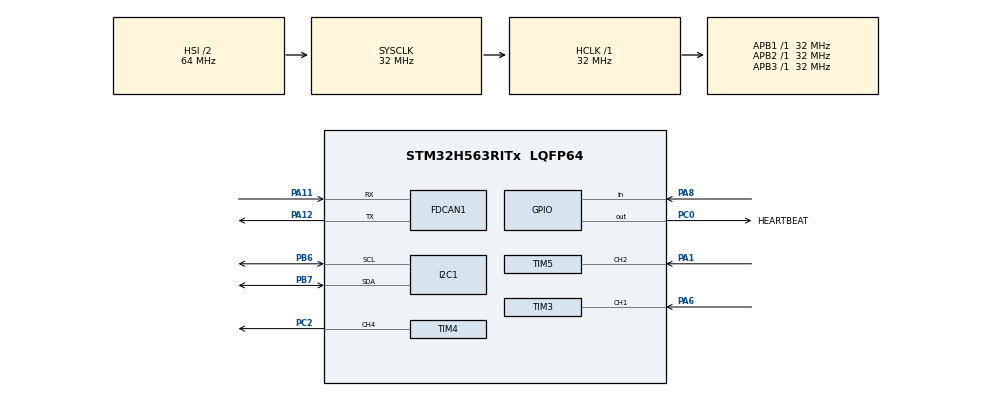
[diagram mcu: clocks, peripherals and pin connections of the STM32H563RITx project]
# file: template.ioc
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BOOTPATH.BootPathName=LEGACY
BOOTPATH.UserSelectedBootPath=LEGACY
CORTEX_M33_NS.Number-Cortex_Memory_Protection_Unit_Region0_OTP_RO_AREAS_Settings=MPU_REGION_NUMBER0
CORTEX_M33_NS.default_mode_Activation=1
CORTEX_M33_NS.userName=CORTEX_M33
FDCAN1.CalculateBaudRateNominal=500000
FDCAN1.CalculateTimeBitNominal=2000
FDCAN1.CalculateTimeQuantumNominal=500.0
FDCAN1.NominalTimeSeg1=2
FDCAN1.StdFiltersNbr=1
I2C1.Timing=0x00707CBB
Mcu.Family=STM32H5
Mcu.Name=STM32H563RITx
Mcu.Package=LQFP64
NVIC.FDCAN1_IT0_IRQn=true\:0\:0\:false\:false\:true\:true\:true\:true
NVIC.FDCAN1_IT1_IRQn=true\:0\:0\:false\:false\:true\:true\:true\:true
NVIC.I2C1_ER_IRQn=true\:0\:0\:false\:false\:true\:true\:true\:true
NVIC.I2C1_EV_IRQn=true\:0\:0\:false\:false\:true\:true\:true\:true
NVIC.PriorityGroup=NVIC_PRIORITYGROUP_4
NVIC.TIM3_IRQn=true\:0\:0\:false\:false\:true\:true\:true\:true
PA1.Signal=S_TIM5_CH2
PA11.GPIO_Speed=GPIO_SPEED_FREQ_VERY_HIGH
PA11.Mode=FDCAN_Activate
PA11.Signal=FDCAN1_RX
PA12.GPIO_Speed=GPIO_SPEED_FREQ_VERY_HIGH
PA12.Mode=FDCAN_Activate
PA12.Signal=FDCAN1_TX
PA13(JTMS/SWDIO).Mode=Trace_Asynchronous_SW
PA13(JTMS/SWDIO).Signal=DEBUG_JTMS-SWDIO
PA14(JTCK/SWCLK).Mode=Trace_Asynchronous_SW
PA14(JTCK/SWCLK).Signal=DEBUG_JTCK-SWCLK
PA6.Signal=S_TIM3_CH1
PA8.GPIO_PuPd=GPIO_PULLUP
PA8.Signal=GPIO_Input
PB3(JTDO/TRACESWO).Mode=Trace_Asynchronous_SW
PB3(JTDO/TRACESWO).Signal=DEBUG_JTDO-SWO
PB6.GPIO_Pu=GPIO_PULLUP
PB6.GPIO_Speed=GPIO_SPEED_FREQ_VERY_HIGH
PB6.Mode=I2C
PB6.Signal=I2C1_SCL
PB7.GPIO_Pu=GPIO_PULLUP
PB7.GPIO_Speed=GPIO_SPEED_FREQ_VERY_HIGH
PB7.Mode=I2C
PB7.Signal=I2C1_SDA
PC0.GPIO_Label=HEARTBEAT
PC0.Signal=GPIO_Output
PC2.Signal=S_TIM4_CH4
ProjectManager.HeapSize=0x200
ProjectManager.StackSize=0x400
ProjectManager.TargetToolchain=STM32CubeIDE
RCC.ADCFreq_Value=32000000
RCC.AHBFreq_Value=32000000
RCC.APB1Freq_Value=32000000
RCC.APB1TimFreq_Value=32000000
RCC.APB2Freq_Value=32000000
RCC.APB2TimFreq_Value=32000000
RCC.APB3Freq_Value=32000000
RCC.CSI_VALUE=4000000
RCC.CortexFreq_Value=32000000
RCC.EPOD_VALUE=4000000
RCC.FDCANClockSelection=RCC_FDCANCLKSOURCE_PLL2Q
RCC.HCLKFreq_Value=32000000
RCC.HSE_VALUE=25000000
RCC.HSI48_VALUE=48000000
RCC.HSI_VALUE=64000000
RCC.LSE_VALUE=32768
RCC.LSIRC_VALUE=32000
RCC.PLL1Q=4
RCC.PLL2FRACN=0
RCC.PLL2N=32
RCC.PLL2Q=4
RCC.PLLFRACN=0
RCC.PLLN=32
RCC.SYSCLKFreq_VALUE=32000000
RCC.USBFreq_Value=48000000
RCC.VCOOutputFreq_Value=128000000
SH.S_TIM3_CH1.0=TIM3_CH1,PWM_Input_1
SH.S_TIM4_CH4.0=TIM4_CH4,PWM Generation4 CH4
SH.S_TIM5_CH2.0=TIM5_CH2,TriggerSource_TI2FP2
TIM3.Prescaler=31
TIM4.Channel-PWM\ Generation4\ CH4=TIM_CHANNEL_4
TIM5.Prescaler=31
VP_BOOTPATH_VS_BOOTPATH.Mode=BP_Activate
VP_CORTEX_M33_NS_VS_Hclk.Mode=Hclk_Mode
VP_ICACHE_VS_ICACHE.Mode=DirectMappedCache
VP_MEMORYMAP_VS_MEMORYMAP.Mode=CurAppReg
VP_PWR_VS_LPOM.Mode=PowerOptimisation
VP_PWR_VS_SECSignals.Mode=Security/Privilege
VP_TIM3_VS_ClockSourceINT.Mode=Internal
VP_TIM4_VS_ClockSourceINT.Mode=Internal
VP_TIM5_VS_ClockSourceINT.Mode=Internal
VP_TIM5_VS_ControllerModeReset.Mode=Reset Mode
board=custom

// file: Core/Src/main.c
/* USER CODE BEGIN Header */
/**
  ******************************************************************************
  * @file           : main.c
  * @brief          : Main program body
  ******************************************************************************
  * @attention
  *
  * Copyright (c) 2026 STMicroelectronics.
  * All rights reserved.
  *
  * This software is licensed under terms that can be found in the LICENSE file
  * in the root directory of this software component.
  * If no LICENSE file comes with this software, it is provided AS-IS.
  *
  ******************************************************************************
  */
/* USER CODE END Header */
#include "main.h"

/* USER CODE BEGIN Includes */
#include <stdio.h>
#include <stdlib.h>
#include "PID.h"
//#include "PID.C"
/* USER CODE END Includes */

/* USER CODE BEGIN PD */
#define BrushlessCANID 0x203
#define SMoCoCANID 0x05

/* USER CODE END PD */

FDCAN_HandleTypeDef hfdcan1;

I2C_HandleTypeDef hi2c1;

TIM_HandleTypeDef htim3;
TIM_HandleTypeDef htim4;
TIM_HandleTypeDef htim5;

/* USER CODE BEGIN PV */
float velocity = 0.0;
float currPosition = 0.0;
float setpoint = 5;
uint16_t newVelocity = 0.0;
uint32_t counter = 0;

#define F_CLK  72000000UL
uint32_t Frequency, CycleTime = 0;
volatile float Duty = 0.0;

FDCAN_FilterTypeDef sFilterConfig;
FDCAN_TxHeaderTypeDef TxBrushlessMotorFrameHeader;
FDCAN_TxHeaderTypeDef TxSMoCoFrameHeader;
FDCAN_RxHeaderTypeDef RxFeedbackFrameHeader;
FDCAN_RxHeaderTypeDef RxSMoCoHeader;
uint32_t TxMailbox;
uint8_t RxData[8];
uint8_t TxData[8];
//00 00 30 41 00 00 00 40
//00 00 A0 40
uint8_t SpeedPacket[8] = {0x00,0x00,0x00,0x40};
uint8_t PositionPacket[8] = {0x00, 0x00, 0x30, 0x41, 0x00, 0x00, 0x00, 0x40};
uint8_t EmptyPacket[8] = {0x00, 0x00, 0x00, 0x00, 0x00, 0x00, 0x00, 0x00};
uint8_t EnablePacket[8] = {0xFF,0xFF,0xFF,0xFF,0xFF,0xFF,0xFF,0xFC};
uint8_t ReadParameterPacket[8] = {0x03, 0x00, 0x33, 0x50};
/* USER CODE END PV */

void SystemClock_Config(void);
static void MPU_Config(void);
static void MX_GPIO_Init(void);
static void MX_ICACHE_Init(void);
static void MX_TIM4_Init(void);
static void MX_I2C1_Init(void);
static void MX_FDCAN1_Init(void);
static void MX_TIM5_Init(void);
static void MX_TIM3_Init(void);
/* USER CODE BEGIN PFP */
float Get_REV_Absolute_Angle(TIM_HandleTypeDef *htim, uint8_t is_v2);
float uint_to_float(int x_int, float x_min, float x_max, int bits);
int float_to_uint(float x, float x_min, float x_max, int bits);
/* USER CODE END PFP */

int main(void)
{

  /* USER CODE BEGIN 1 */

	//00 00 A0 40 00 00 A0 40
  /* USER CODE END 1 */

  /* MCU Configuration--------------------------------------------------------*/

  /* MPU Configuration--------------------------------------------------------*/
  MPU_Config();

  /* Reset of all peripherals, Initializes the Flash interface and the Systick. */
  HAL_Init();

  /* USER CODE BEGIN Init */
  PID pidController;
  /* USER CODE END Init */

  /* Configure the system clock */
  SystemClock_Config();

  /* Initialize all configured peripherals */
  MX_GPIO_Init();
  MX_ICACHE_Init();
  MX_TIM4_Init();
  MX_I2C1_Init();
  MX_FDCAN1_Init();
  MX_TIM5_Init();
  MX_TIM3_Init();
  /* USER CODE BEGIN 2 */

  PID_init(1, 1, 1, 5, 0, pidController);

  sFilterConfig.IdType = FDCAN_STANDARD_ID;
  sFilterConfig.FilterIndex = 0;
  sFilterConfig.FilterType = FDCAN_FILTER_MASK;
  sFilterConfig.FilterConfig = FDCAN_FILTER_TO_RXFIFO0;
  sFilterConfig.FilterID1 = 0x0;
  sFilterConfig.FilterID2 = 0x0;

  if (HAL_FDCAN_ConfigFilter(&hfdcan1, &sFilterConfig) != HAL_OK)
  {
    /* Filter configuration Error */
    Error_Handler();
  }

  if(HAL_FDCAN_Start(&hfdcan1)!= HAL_OK)
  {
   Error_Handler();
  }

  if (HAL_FDCAN_ActivateNotification(&hfdcan1, FDCAN_IT_RX_FIFO0_NEW_MESSAGE, 0) != HAL_OK)
  {
    /* Notification Error */
    Error_Handler();
  }

  TxBrushlessMotorFrameHeader.Identifier = BrushlessCANID;
  TxBrushlessMotorFrameHeader.IdType = FDCAN_STANDARD_ID;
  TxBrushlessMotorFrameHeader.TxFrameType = FDCAN_DATA_FRAME;
  TxBrushlessMotorFrameHeader.DataLength = FDCAN_DLC_BYTES_8;
  TxBrushlessMotorFrameHeader.ErrorStateIndicator = FDCAN_ESI_ACTIVE;
  TxBrushlessMotorFrameHeader.BitRateSwitch = FDCAN_BRS_OFF;
  TxBrushlessMotorFrameHeader.FDFormat = FDCAN_CLASSIC_CAN;
  TxBrushlessMotorFrameHeader.TxEventFifoControl = FDCAN_NO_TX_EVENTS;
  TxBrushlessMotorFrameHeader.MessageMarker = 0;

  TxSMoCoFrameHeader.Identifier = SMoCoCANID; //subject to change
  TxSMoCoFrameHeader.IdType = FDCAN_STANDARD_ID;
  TxSMoCoFrameHeader.TxFrameType = FDCAN_DATA_FRAME;
  TxSMoCoFrameHeader.DataLength = FDCAN_DLC_BYTES_8;
  TxSMoCoFrameHeader.ErrorStateIndicator = FDCAN_ESI_ACTIVE;
  TxSMoCoFrameHeader.BitRateSwitch = FDCAN_BRS_OFF;
  TxSMoCoFrameHeader.FDFormat = FDCAN_CLASSIC_CAN;
  TxSMoCoFrameHeader.TxEventFifoControl = FDCAN_NO_TX_EVENTS;
  TxSMoCoFrameHeader.MessageMarker = 0;

  RxFeedbackFrameHeader.DataLength = FDCAN_DLC_BYTES_8;
  RxFeedbackFrameHeader.IdType = FDCAN_STANDARD_ID;
  RxFeedbackFrameHeader.FDFormat = FDCAN_CLASSIC_CAN;
  RxFeedbackFrameHeader.Identifier = 0x13;
  RxFeedbackFrameHeader.RxFrameType = FDCAN_DATA_FRAME;

  RxSMoCoHeader.DataLength = FDCAN_DLC_BYTES_8;
  RxFeedbackFrameHeader.IdType = FDCAN_STANDARD_ID;
  RxFeedbackFrameHeader.FDFormat = FDCAN_CLASSIC_CAN;
  RxFeedbackFrameHeader.Identifier = 0x15;
  RxFeedbackFrameHeader.RxFrameType = FDCAN_DATA_FRAME;

  HAL_TIM_IC_Start_IT(&htim3, TIM_CHANNEL_1);
  HAL_TIM_IC_Start(&htim3, TIM_CHANNEL_2);

  /* USER CODE END 2 */

  /* Infinite loop */
  while (1)
  {

    /* USER CODE BEGIN 3 */

	  float position = currPosition;
//	  newVelocity = PID_Update(position, pidController, 10);
	  newVelocity = uint_to_float(5,-4095,4095,12);
	  uint8_t VelocityPIDPacket[8] = {};

	  VelocityPIDPacket[3] = 0x00;
	  VelocityPIDPacket[2] = 0x00;
	  VelocityPIDPacket[1] = (uint8_t)((newVelocity >> 8) & 0xFF); // Bits 8–11
	  VelocityPIDPacket[0] = (uint8_t)(newVelocity & 0xFF);        // Bits 0–7 (LSB)
//	  VelocityPIDPacket[4] = 0x00;
//	  VelocityPIDPacket[5] = 0x00;
//	  VelocityPIDPacket[6] = 0x00;
//	  VelocityPIDPacket[7] = 0x00;

	  if (HAL_FDCAN_AddMessageToTxFifoQ(&hfdcan1, &TxBrushlessMotorFrameHeader, VelocityPIDPacket) != HAL_OK)
	  {
		  Error_Handler();
	  }
	  HAL_Delay(10);

	  while(HAL_FDCAN_AddMessageToTxFifoQ(&hfdcan1, &TxBrushlessMotorFrameHeader, EnablePacket));

//	  if (HAL_FDCAN_AddMessageToTxFifoQ(&hfdcan1, &TxSMoCoFrameHeader, EmptyPacket) != HAL_OK)
//	  {
//	  	Error_Handler();
//	  }

//	  printf("Hewwo World %d\n", position);
//	  fflush(stdout);
  }
  /* USER CODE END 3 */
}

void SystemClock_Config(void)
{
  RCC_OscInitTypeDef RCC_OscInitStruct = {0};
  RCC_ClkInitTypeDef RCC_ClkInitStruct = {0};

  /** Configure the main internal regulator output voltage
  */
  __HAL_PWR_VOLTAGESCALING_CONFIG(PWR_REGULATOR_VOLTAGE_SCALE3);

  while(!__HAL_PWR_GET_FLAG(PWR_FLAG_VOSRDY)) {}

  /** Initializes the RCC Oscillators according to the specified parameters
  * in the RCC_OscInitTypeDef structure.
  */
  RCC_OscInitStruct.OscillatorType = RCC_OSCILLATORTYPE_HSI|RCC_OSCILLATORTYPE_CSI;
  RCC_OscInitStruct.HSIState = RCC_HSI_ON;
  RCC_OscInitStruct.HSIDiv = RCC_HSI_DIV2;
  RCC_OscInitStruct.HSICalibrationValue = RCC_HSICALIBRATION_DEFAULT;
  RCC_OscInitStruct.CSIState = RCC_CSI_ON;
  RCC_OscInitStruct.CSICalibrationValue = RCC_CSICALIBRATION_DEFAULT;
  RCC_OscInitStruct.PLL.PLLState = RCC_PLL_NONE;
  if (HAL_RCC_OscConfig(&RCC_OscInitStruct) != HAL_OK)
  {
    Error_Handler();
  }

  /** Initializes the CPU, AHB and APB buses clocks
  */
  RCC_ClkInitStruct.ClockType = RCC_CLOCKTYPE_HCLK|RCC_CLOCKTYPE_SYSCLK
                              |RCC_CLOCKTYPE_PCLK1|RCC_CLOCKTYPE_PCLK2
                              |RCC_CLOCKTYPE_PCLK3;
  RCC_ClkInitStruct.SYSCLKSource = RCC_SYSCLKSOURCE_HSI;
  RCC_ClkInitStruct.AHBCLKDivider = RCC_SYSCLK_DIV1;
  RCC_ClkInitStruct.APB1CLKDivider = RCC_HCLK_DIV1;
  RCC_ClkInitStruct.APB2CLKDivider = RCC_HCLK_DIV1;
  RCC_ClkInitStruct.APB3CLKDivider = RCC_HCLK_DIV1;

  if (HAL_RCC_ClockConfig(&RCC_ClkInitStruct, FLASH_LATENCY_1) != HAL_OK)
  {
    Error_Handler();
  }

  /** Configure the programming delay
  */
  __HAL_FLASH_SET_PROGRAM_DELAY(FLASH_PROGRAMMING_DELAY_0);
}

static void MX_FDCAN1_Init(void)
{

  hfdcan1.Instance = FDCAN1;
  hfdcan1.Init.ClockDivider = FDCAN_CLOCK_DIV1;
  hfdcan1.Init.FrameFormat = FDCAN_FRAME_CLASSIC;
  hfdcan1.Init.Mode = FDCAN_MODE_NORMAL;
  hfdcan1.Init.AutoRetransmission = DISABLE;
  hfdcan1.Init.TransmitPause = DISABLE;
  hfdcan1.Init.ProtocolException = DISABLE;
  hfdcan1.Init.NominalPrescaler = 16;
  hfdcan1.Init.NominalSyncJumpWidth = 1;
  hfdcan1.Init.NominalTimeSeg1 = 2;
  hfdcan1.Init.NominalTimeSeg2 = 1;
  hfdcan1.Init.DataPrescaler = 1;
  hfdcan1.Init.DataSyncJumpWidth = 1;
  hfdcan1.Init.DataTimeSeg1 = 1;
  hfdcan1.Init.DataTimeSeg2 = 1;
  hfdcan1.Init.StdFiltersNbr = 1;
  hfdcan1.Init.ExtFiltersNbr = 0;
  hfdcan1.Init.TxFifoQueueMode = FDCAN_TX_FIFO_OPERATION;
  if (HAL_FDCAN_Init(&hfdcan1) != HAL_OK)
  {
    Error_Handler();
  }

}

static void MX_I2C1_Init(void)
{

  hi2c1.Instance = I2C1;
  hi2c1.Init.Timing = 0x00707CBB;
  hi2c1.Init.OwnAddress1 = 0;
  hi2c1.Init.AddressingMode = I2C_ADDRESSINGMODE_7BIT;
  hi2c1.Init.DualAddressMode = I2C_DUALADDRESS_DISABLE;
  hi2c1.Init.OwnAddress2 = 0;
  hi2c1.Init.OwnAddress2Masks = I2C_OA2_NOMASK;
  hi2c1.Init.GeneralCallMode = I2C_GENERALCALL_DISABLE;
  hi2c1.Init.NoStretchMode = I2C_NOSTRETCH_DISABLE;
  if (HAL_I2C_Init(&hi2c1) != HAL_OK)
  {
    Error_Handler();
  }

  /** Configure Analogue filter
  */
  if (HAL_I2CEx_ConfigAnalogFilter(&hi2c1, I2C_ANALOGFILTER_ENABLE) != HAL_OK)
  {
    Error_Handler();
  }

  /** Configure Digital filter
  */
  if (HAL_I2CEx_ConfigDigitalFilter(&hi2c1, 0) != HAL_OK)
  {
    Error_Handler();
  }

}

static void MX_ICACHE_Init(void)
{

  /** Enable instruction cache in 1-way (direct mapped cache)
  */
  if (HAL_ICACHE_ConfigAssociativityMode(ICACHE_1WAY) != HAL_OK)
  {
    Error_Handler();
  }
  if (HAL_ICACHE_Enable() != HAL_OK)
  {
    Error_Handler();
  }

}

static void MX_TIM3_Init(void)
{

  TIM_ClockConfigTypeDef sClockSourceConfig = {0};
  TIM_SlaveConfigTypeDef sSlaveConfig = {0};
  TIM_IC_InitTypeDef sConfigIC = {0};
  TIM_MasterConfigTypeDef sMasterConfig = {0};

  htim3.Instance = TIM3;
  htim3.Init.Prescaler = 31;
  htim3.Init.CounterMode = TIM_COUNTERMODE_UP;
  htim3.Init.Period = 65535;
  htim3.Init.ClockDivision = TIM_CLOCKDIVISION_DIV1;
  htim3.Init.AutoReloadPreload = TIM_AUTORELOAD_PRELOAD_DISABLE;
  if (HAL_TIM_Base_Init(&htim3) != HAL_OK)
  {
    Error_Handler();
  }
  sClockSourceConfig.ClockSource = TIM_CLOCKSOURCE_INTERNAL;
  if (HAL_TIM_ConfigClockSource(&htim3, &sClockSourceConfig) != HAL_OK)
  {
    Error_Handler();
  }
  if (HAL_TIM_IC_Init(&htim3) != HAL_OK)
  {
    Error_Handler();
  }
  sSlaveConfig.SlaveMode = TIM_SLAVEMODE_RESET;
  sSlaveConfig.InputTrigger = TIM_TS_TI1FP1;
  sSlaveConfig.TriggerPolarity = TIM_INPUTCHANNELPOLARITY_RISING;
  sSlaveConfig.TriggerPrescaler = TIM_ICPSC_DIV1;
  sSlaveConfig.TriggerFilter = 0;
  if (HAL_TIM_SlaveConfigSynchro(&htim3, &sSlaveConfig) != HAL_OK)
  {
    Error_Handler();
  }
  sConfigIC.ICPolarity = TIM_INPUTCHANNELPOLARITY_RISING;
  sConfigIC.ICSelection = TIM_ICSELECTION_DIRECTTI;
  sConfigIC.ICPrescaler = TIM_ICPSC_DIV1;
  sConfigIC.ICFilter = 0;
  if (HAL_TIM_IC_ConfigChannel(&htim3, &sConfigIC, TIM_CHANNEL_1) != HAL_OK)
  {
    Error_Handler();
  }
  sConfigIC.ICPolarity = TIM_INPUTCHANNELPOLARITY_FALLING;
  sConfigIC.ICSelection = TIM_ICSELECTION_INDIRECTTI;
  if (HAL_TIM_IC_ConfigChannel(&htim3, &sConfigIC, TIM_CHANNEL_2) != HAL_OK)
  {
    Error_Handler();
  }
  sMasterConfig.MasterOutputTrigger = TIM_TRGO_RESET;
  sMasterConfig.MasterSlaveMode = TIM_MASTERSLAVEMODE_DISABLE;
  if (HAL_TIMEx_MasterConfigSynchronization(&htim3, &sMasterConfig) != HAL_OK)
  {
    Error_Handler();
  }

}

static void MX_TIM4_Init(void)
{

  TIM_ClockConfigTypeDef sClockSourceConfig = {0};
  TIM_MasterConfigTypeDef sMasterConfig = {0};
  TIM_OC_InitTypeDef sConfigOC = {0};

  htim4.Instance = TIM4;
  htim4.Init.Prescaler = 0;
  htim4.Init.CounterMode = TIM_COUNTERMODE_UP;
  htim4.Init.Period = 65535;
  htim4.Init.ClockDivision = TIM_CLOCKDIVISION_DIV1;
  htim4.Init.AutoReloadPreload = TIM_AUTORELOAD_PRELOAD_DISABLE;
  if (HAL_TIM_Base_Init(&htim4) != HAL_OK)
  {
    Error_Handler();
  }
  sClockSourceConfig.ClockSource = TIM_CLOCKSOURCE_INTERNAL;
  if (HAL_TIM_ConfigClockSource(&htim4, &sClockSourceConfig) != HAL_OK)
  {
    Error_Handler();
  }
  if (HAL_TIM_PWM_Init(&htim4) != HAL_OK)
  {
    Error_Handler();
  }
  sMasterConfig.MasterOutputTrigger = TIM_TRGO_RESET;
  sMasterConfig.MasterSlaveMode = TIM_MASTERSLAVEMODE_DISABLE;
  if (HAL_TIMEx_MasterConfigSynchronization(&htim4, &sMasterConfig) != HAL_OK)
  {
    Error_Handler();
  }
  sConfigOC.OCMode = TIM_OCMODE_PWM1;
  sConfigOC.Pulse = 0;
  sConfigOC.OCPolarity = TIM_OCPOLARITY_HIGH;
  sConfigOC.OCFastMode = TIM_OCFAST_DISABLE;
  if (HAL_TIM_PWM_ConfigChannel(&htim4, &sConfigOC, TIM_CHANNEL_4) != HAL_OK)
  {
    Error_Handler();
  }
  HAL_TIM_MspPostInit(&htim4);

}

static void MX_TIM5_Init(void)
{

  TIM_ClockConfigTypeDef sClockSourceConfig = {0};
  TIM_SlaveConfigTypeDef sSlaveConfig = {0};
  TIM_MasterConfigTypeDef sMasterConfig = {0};

  htim5.Instance = TIM5;
  htim5.Init.Prescaler = 31;
  htim5.Init.CounterMode = TIM_COUNTERMODE_UP;
  htim5.Init.Period = 4294967295;
  htim5.Init.ClockDivision = TIM_CLOCKDIVISION_DIV1;
  htim5.Init.AutoReloadPreload = TIM_AUTORELOAD_PRELOAD_DISABLE;
  if (HAL_TIM_Base_Init(&htim5) != HAL_OK)
  {
    Error_Handler();
  }
  sClockSourceConfig.ClockSource = TIM_CLOCKSOURCE_INTERNAL;
  if (HAL_TIM_ConfigClockSource(&htim5, &sClockSourceConfig) != HAL_OK)
  {
    Error_Handler();
  }
  sSlaveConfig.SlaveMode = TIM_SLAVEMODE_RESET;
  sSlaveConfig.InputTrigger = TIM_TS_TI2FP2;
  sSlaveConfig.TriggerPolarity = TIM_TRIGGERPOLARITY_RISING;
  sSlaveConfig.TriggerFilter = 0;
  if (HAL_TIM_SlaveConfigSynchro(&htim5, &sSlaveConfig) != HAL_OK)
  {
    Error_Handler();
  }
  sMasterConfig.MasterOutputTrigger = TIM_TRGO_RESET;
  sMasterConfig.MasterSlaveMode = TIM_MASTERSLAVEMODE_DISABLE;
  if (HAL_TIMEx_MasterConfigSynchronization(&htim5, &sMasterConfig) != HAL_OK)
  {
    Error_Handler();
  }

}

static void MX_GPIO_Init(void)
{
  GPIO_InitTypeDef GPIO_InitStruct = {0};

  /* GPIO Ports Clock Enable */
  __HAL_RCC_GPIOC_CLK_ENABLE();
  __HAL_RCC_GPIOA_CLK_ENABLE();
  __HAL_RCC_GPIOB_CLK_ENABLE();

  /*Configure GPIO pin Output Level */
  HAL_GPIO_WritePin(HEARTBEAT_GPIO_Port, HEARTBEAT_Pin, GPIO_PIN_RESET);

  /*Configure GPIO pin : HEARTBEAT_Pin */
  GPIO_InitStruct.Pin = HEARTBEAT_Pin;
  GPIO_InitStruct.Mode = GPIO_MODE_OUTPUT_PP;
  GPIO_InitStruct.Pull = GPIO_NOPULL;
  GPIO_InitStruct.Speed = GPIO_SPEED_FREQ_LOW;
  HAL_GPIO_Init(HEARTBEAT_GPIO_Port, &GPIO_InitStruct);

  /*Configure GPIO pin : PA8 */
  GPIO_InitStruct.Pin = GPIO_PIN_8;
  GPIO_InitStruct.Mode = GPIO_MODE_INPUT;
  GPIO_InitStruct.Pull = GPIO_PULLUP;
  HAL_GPIO_Init(GPIOA, &GPIO_InitStruct);

}

/* USER CODE BEGIN 4 */

void HAL_FDCAN_RxFifo0Callback(FDCAN_HandleTypeDef *hfdcan, uint32_t RxFifo0ITs)
{
  if((RxFifo0ITs & FDCAN_IT_RX_FIFO0_NEW_MESSAGE) != RESET)
  {
    /* Retreive Rx messages from RX FIFO0 */
    if (HAL_FDCAN_GetRxMessage(hfdcan, FDCAN_RX_FIFO0, &RxFeedbackFrameHeader, RxData) != HAL_OK)
    {
    /* Reception Error */
    	if (RxFeedbackFrameHeader.Identifier == 0x13) {
//    		currPosition = uint_to_float(((uint16_t)RxData[1] << 8) | RxData[2],-40,40,12);
//    		printf("%d\n",RxData[0]);
//    		printf("%d\n",RxData[1]);
//    		printf("%d\n",RxData[2]);
//    		printf("%d\n",RxData[3]);
//    		printf("%d\n",RxData[4]);
//    		printf("%d\n",RxData[5]);
//    		printf("%d\n",RxData[6]);
    		;

    	}
    	Error_Handler();
    }
    //uint16_t combined = ((uint16_t)high_byte << 8) | low_byte;

  }
}

float uint_to_float(int x_int, float x_min, float x_max, int bits) { //min: -4095, max: 4095 for velocity
	/// converts unsigned int to float, given range and number of bits ///
	float span = x_max - x_min;
	float offset = x_min;
	return ((float)x_int) *span/((float)((1<<bits)-1)) + offset;
}

int float_to_uint(float x, float x_min, float x_max, int bits) { //min: -4095, max: 4095 for velocity
	/// Converts a float to an unsigned int, given range and number ofbits ///
	float span = x_max - x_min;
	float offset = x_min;
	return (int) ((x-offset)*((float)((1<<bits)-1))/span);
}

void HAL_TIM_IC_CaptureCallback(TIM_HandleTypeDef *htim)
{
//	counter = __HAL_TIM_GET_COUNTER(htim);
	if (htim->Instance == TIM3 && htim->Channel == HAL_TIM_ACTIVE_CHANNEL_1)
	    {
	        uint32_t period_us = HAL_TIM_ReadCapturedValue(htim, TIM_CHANNEL_1);
	        uint32_t pulse_us  = HAL_TIM_ReadCapturedValue(htim, TIM_CHANNEL_2);
//	        printf("Pulse_us:\t%d", pulse_us);
//	        printf("\n");
	        if (period_us > 0)
	        {
	            // V2 datasheet specs: 3.884 us (0 deg) to 998.06 us (360 deg)
	            const uint32_t min_us = 1;
	            const uint32_t max_us =  1024;

	            currPosition = ((float)pulse_us / (float)max_us)  * 360.0;

//	            printf("CurrPositonm: %d\n", (uint16_t)currPosition);
//	            printf("\n");
	        }
	    }

//	printf("Frequency%d", Frequency);
}

void CAN_Drive_Motor_Velocity_Mode(float velocity) {
	uint8_t velocityPIDPacket[8] = {};
	uint16_t int_velocity = float_to_uint(velocity, -45,45,12);
	int_velocity &= 0x0FFF; // Ensure 12-bit bounds
	velocityPIDPacket[0] = (uint8_t)(int_velocity & 0xFF);        // Bits 0–7 (LSB)
	velocityPIDPacket[1] = (uint8_t)((int_velocity >> 8) & 0x0F); // Bits 8–11
	velocityPIDPacket[2] = 0x00;
	velocityPIDPacket[3] = 0x00;
	velocityPIDPacket[4] = 0x00;
	velocityPIDPacket[5] = 0x00;
	velocityPIDPacket[6] = 0x00;
	velocityPIDPacket[7] = 0x00;

	if (HAL_FDCAN_AddMessageToTxFifoQ(&hfdcan1, &TxBrushlessMotorFrameHeader, velocityPIDPacket) != HAL_OK)
	{
		Error_Handler();
	}
	HAL_Delay (10);
}

/* USER CODE END 4 */

 /* MPU Configuration */

void MPU_Config(void)
{
  MPU_Region_InitTypeDef MPU_InitStruct = {0};
  MPU_Attributes_InitTypeDef MPU_AttributesInit = {0};

  /* Disables the MPU */
  HAL_MPU_Disable();

  /** Initializes and configures the Region 0 and the memory to be protected
  */
  MPU_InitStruct.Enable = MPU_REGION_ENABLE;
  MPU_InitStruct.Number = MPU_REGION_NUMBER0;
  MPU_InitStruct.BaseAddress = 0x08FFF000;
  MPU_InitStruct.LimitAddress = 0x08FFFFFF;
  MPU_InitStruct.AttributesIndex = MPU_ATTRIBUTES_NUMBER0;
  MPU_InitStruct.AccessPermission = MPU_REGION_ALL_RO;
  MPU_InitStruct.DisableExec = MPU_INSTRUCTION_ACCESS_DISABLE;
  MPU_InitStruct.IsShareable = MPU_ACCESS_NOT_SHAREABLE;

  HAL_MPU_ConfigRegion(&MPU_InitStruct);

  /** Initializes and configures the Attribute 0 and the memory to be protected
  */
  MPU_AttributesInit.Number = MPU_ATTRIBUTES_NUMBER0;
  MPU_AttributesInit.Attributes = INNER_OUTER(MPU_NOT_CACHEABLE);

  HAL_MPU_ConfigMemoryAttributes(&MPU_AttributesInit);
  /* Enables the MPU */
  HAL_MPU_Enable(MPU_PRIVILEGED_DEFAULT);

}

void Error_Handler(void)
{
  __disable_irq();
  while (1)
  {
  }
}
